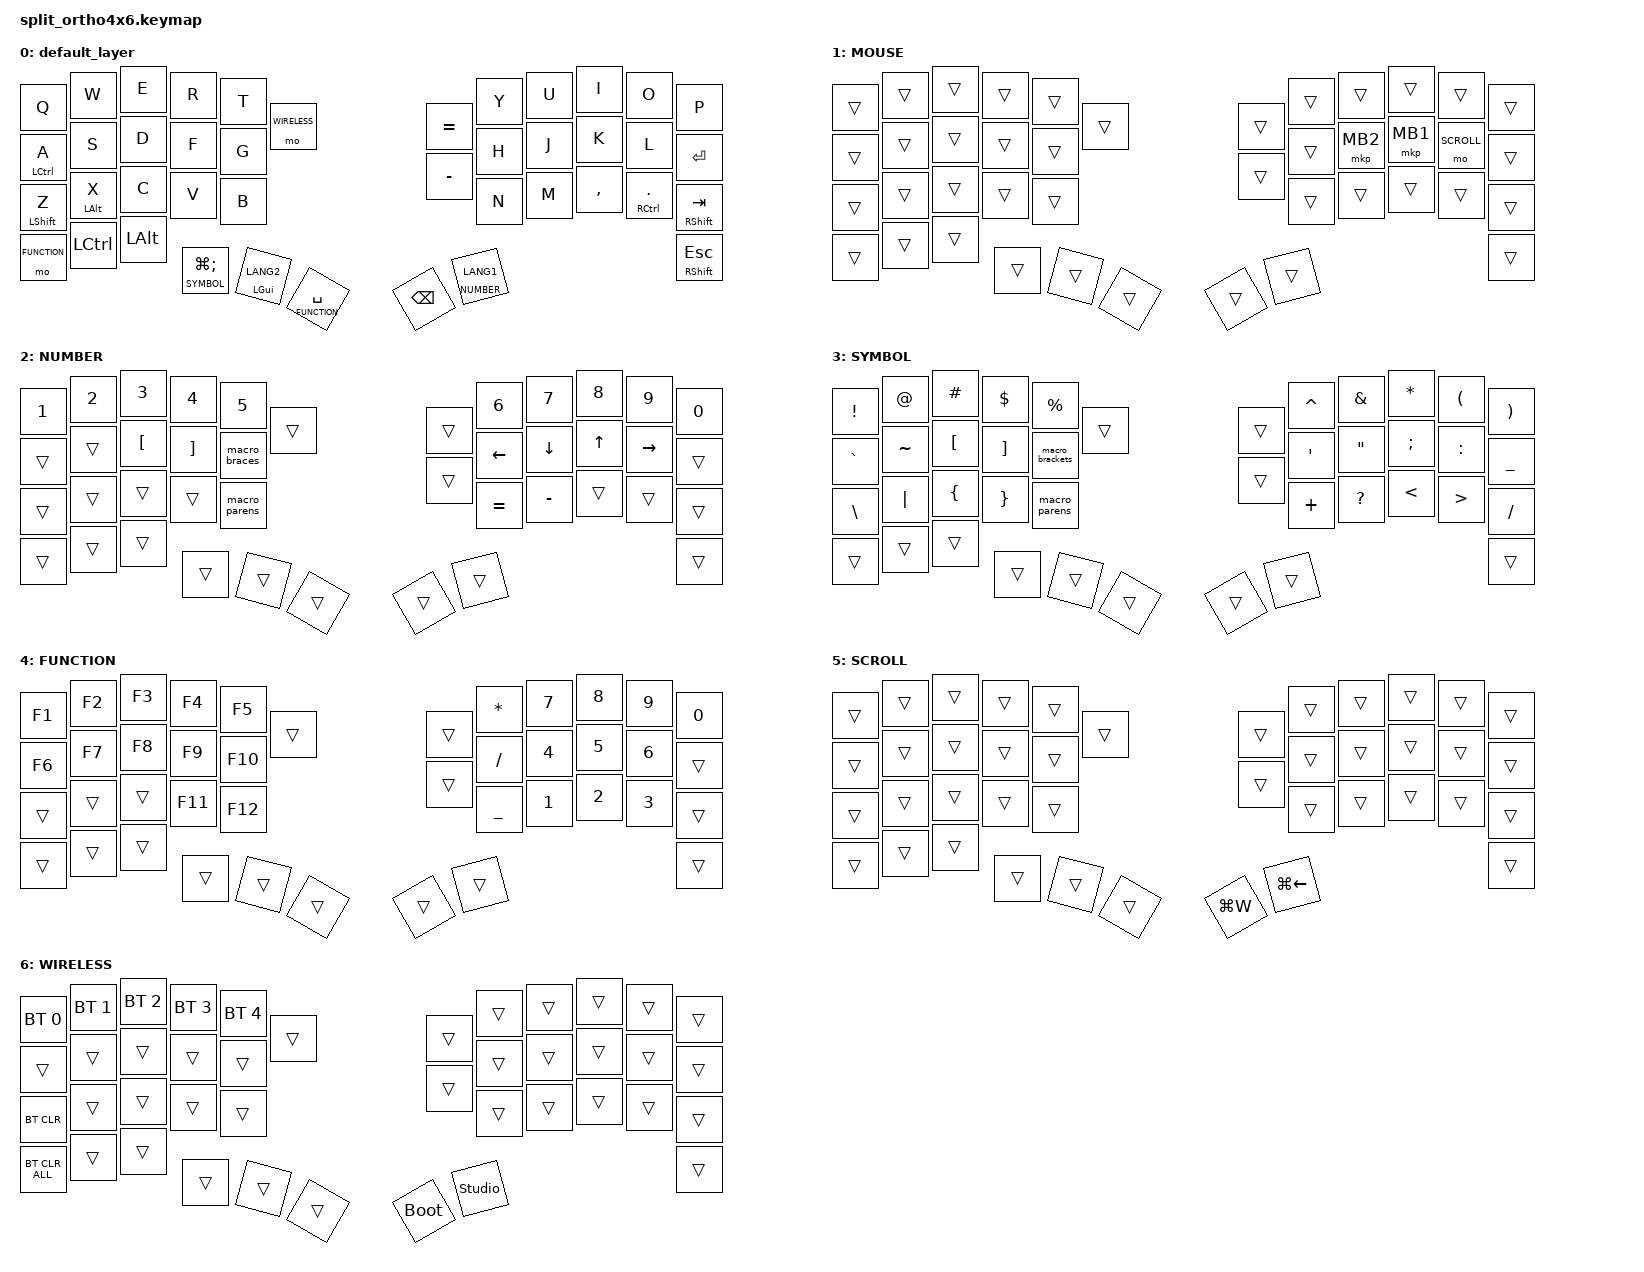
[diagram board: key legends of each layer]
#define ZMK_POINTING_DEFAULT_SCRL_VAL 150

#include <dt-bindings/zmk/input_transform.h>
#include <input/processors.dtsi>
#include <zephyr/dt-bindings/input/input-event-codes.h>
#include <behaviors.dtsi>
#include <dt-bindings/zmk/bt.h>
#include <dt-bindings/zmk/keys.h>
#include <dt-bindings/zmk/pointing.h>

// レイヤー定義

#define MOUSE 1
#define NUMBER 2
#define SYMBOL 3
#define FUNCTION 4
#define SCROLL 5
#define WIRELESS 6

// 書き込みコマンド
// git pull | ./flash_l.sh 左用
// git pull | ./flash_r.sh 右用
//mouse cursol
// &mmv {
//     delay-ms = <20>;
//     trigger-period-ms = <5>;
//     time-to-max-speed-ms = <100>;
//     acceleration-exponent = <2>;
// };
// //mouse scroll
// &msc {
//     delay-ms = <3>;
//     trigger-period-ms = <3>;
//     time-to-max-speed-ms = <100>;
//     acceleration-exponent = <30>;
// };

/ {
    input_processors {
        zip_wheel_scaler: zip_wheel_scaler {
            compatible = "zmk,input-processor-scaler";
            #input-processor-cells = <2>;
            type = <INPUT_EV_REL>;
            codes = <INPUT_REL_WHEEL>;
            track-remainders;
        };
    };
};

&msc_input_listener {
    // speed_up {
    //     layers = <FUNCTION>;
    //     // スクロールを3倍速にする
    //     input-processors = <
    //         &zip_wheel_scaler 4 1
    //     >;
    // };
    // speed_down {
    //     layers = <NUMBER>;
    //     // スクロールを?倍速にする
    //     input-processors = <
    //         &zip_wheel_scaler 1 3
    //     >;
    // };
};

/ {
    macros {
        macro_ctrl_space: macro_ctrl_space {
            compatible = "zmk,behavior-macro";
            #binding-cells = <0>;
            wait-ms = <10>;
            tap-ms = <10>;
            bindings =
                <&macro_press>,
                <&kp LCTRL>,
                <&macro_tap>,
                <&kp SPACE>,
                <&macro_release>,
                <&kp LCTRL>;
        };

        /* ()を入力してカーソルを中に戻す */

        macro_parens: macro_parens {
            compatible = "zmk,behavior-macro";
            #binding-cells = <0>;
            wait-ms = <10>;
            tap-ms = <10>;
            bindings = <&kp LPAR &kp RPAR &kp LEFT>;
        };

        /* []を入力してカーソルを中に戻す */

        macro_brackets: macro_brackets {
            compatible = "zmk,behavior-macro";
            #binding-cells = <0>;
            wait-ms = <10>;
            tap-ms = <10>;
            bindings = <&kp LBKT &kp RBKT &kp LEFT>;
        };

        /* {}を入力してカーソルを中に戻す */

        macro_braces: macro_braces {
            compatible = "zmk,behavior-macro";
            #binding-cells = <0>;
            wait-ms = <10>;
            tap-ms = <10>;
            bindings = <&kp LBRC &kp RBRC &kp LEFT>;
        };

        /* <>を入力する */

        macro_angles: macro_angles {
            compatible = "zmk,behavior-macro";
            #binding-cells = <0>;
            wait-ms = <10>;
            tap-ms = <10>;
            bindings = <&kp LT &kp GT>;
        };

        /* ''を入力する */

        macro_squotes: macro_squotes {
            compatible = "zmk,behavior-macro";
            #binding-cells = <0>;
            wait-ms = <10>;
            tap-ms = <10>;
            bindings = <&kp SQT &kp SQT>;
        };

        /* ""を入力する */

        macro_dquotes: macro_dquotes {
            compatible = "zmk,behavior-macro";
            #binding-cells = <0>;
            wait-ms = <10>;
            tap-ms = <10>;
            bindings = <&kp DQT &kp DQT>;
        };

        macro_if: if {
            compatible = "zmk,behavior-macro";
            #binding-cells = <0>;
            bindings = <&kp LPAR &kp RPAR &kp SPACE &kp LBRC &kp RBRC>;
            label = "IF";
        };
    };

    combos {
        compatible = "zmk,combos";

        /* ============================================================
           CATEGORY: MOUSE & SYSTEM (CamelCase)
           =========================================================== */
        // Bluetoothレイヤー(6)呼び出し : 最下段3キー同時押し

        BluetoothLayer {
            bindings = <&mo WIRELESS>;
            key-positions = <39 40 41>;
        };

        combo_sqt {
            bindings = <&kp SQT>;
            key-positions = <21 20>;
        };

        combo_semi {
            bindings = <&kp SEMI>;
            key-positions = <20 19>;
        };

        combo_slash {
            bindings = <&kp SLASH>;
            key-positions = <30 31>;
        };

        combo_grave {
            bindings = <&kp GRAVE>;
            key-positions = <9 10>;
        };

        combo_m_if {
            bindings = <&macro_if>;
            key-positions = <19 20 15 14>;
        };

        combo_esc {
            bindings = <&kp ESC>;
            key-positions = <19 21>;
            timeout-ms = <60>;
        };

        combo_back_slash {
            bindings = <&kp BSLH>;
            key-positions = <28 29>;
        };

        combo_at {
            bindings = <&kp AT>;
            key-positions = <7 8>;
        };

        scroll {
            bindings = <&mo SCROLL>;
            key-positions = <14 15>;
        };
    };

    behaviors {
        // 長押しでLGUI (Cmd)、単押しでCtrl+Spaceマクロ

        gui_ctrl_space: gui_ctrl_space {
            compatible = "zmk,behavior-hold-tap";
            label = "GUI_CTRL_SPACE";
            #binding-cells = <2>;
            tapping-term-ms = <200>;    // 長押しと判定されるまでの時間
            quick-tap-ms = <150>;       // 素早く2回叩いた時の挙動調整
            flavor = "hold-preferred";   // 単押し（マクロ）を優先する設定
            bindings = <&kp>, <&macro_ctrl_space>;
        };

        // Caps Lockをダブルタップで発動させる設定

        td_caps: td_caps {
            compatible = "zmk,behavior-tap-dance";
            label = "TD_CAPS";
            #binding-cells = <0>;
            tapping-term-ms = <200>;
            bindings = <&none>, <&kp CAPS>;

            // 1タップ目は何もしない（あるいは別のキー）、2タップでCaps
        };

        // カスタムHold-Tap: ホールドでLCMD、タップでLANG2、ダブルタップでCaps
        // ※gui_enをベースに、タップ部分をtd_capsと組み合わせたような挙動にします

        hm_caps: hm_caps {
            compatible = "zmk,behavior-hold-tap";
            label = "HM_CAPS";
            #binding-cells = <2>;

            // ホールド判定を少し短めにして、Commandとしての反応を速くする

            tapping-term-ms = <200>;

            // 連続入力時の判定を安定させる

            quick-tap-ms = <175>;

            // タップ判定よりもホールド（Command）を優先

            flavor = "hold-preferred";
            bindings = <&kp>, <&td_caps_lang>;
        };

        // LANG2とCAPSのタップダンス

        td_caps_lang: td_caps_lang {
            compatible = "zmk,behavior-tap-dance";
            label = "TD_CAPS_LANG";
            #binding-cells = <0>;
            tapping-term-ms = <250>;
            bindings = <&kp LANG2>, <&kp CAPS>;

            // 1タップで英数、2タップでCaps
        };

        // タップで英数、ダブルタップでかな

        td_enjp: td_enjp {
            compatible = "zmk,behavior-tap-dance";
            label = "TD_ENJP";
            #binding-cells = <0>;
            tapping-term-ms = <270>;
            bindings = <&kp LANG2>, <&kp LANG1>;
        };

        // 長押しGUI、タップで英数かな切り替え

        gui_en: gui_en {
            compatible = "zmk,behavior-hold-tap";
            label = "GUI_EN";
            #binding-cells = <2>;
            tapping-term-ms = <129>;
            flavor = "balanced";
            hold-trigger-on-release;
            bindings = <&kp>, <&td_enjp>;
        };

        // 一般的なHold-Tap (Hold: Modifier, Tap: Key)

        hm: hm {
            compatible = "zmk,behavior-hold-tap";
            label = "HM";
            #binding-cells = <2>;
            tapping-term-ms = <190>;

            // quick-tap-ms = <190>;

            flavor = "hold-preferred";
            hold-trigger-on-release;
            bindings = <&kp>, <&kp>;
        };

        // 一般的なLayer-Tap (Hold: Layer, Tap: Key)

        lt_k: lt_k {
            compatible = "zmk,behavior-hold-tap";
            label = "LT_K";
            #binding-cells = <2>;
            tapping-term-ms = <190>;
            flavor = "hold-preferred";

            // quick-tap-ms = <10>;
            hold-trigger-on-release;
            bindings = <&mo>, <&kp>;
        };

        // スペース用Hold-Tap

        // st: st {
        //     compatible = "zmk,behavior-hold-tap";
        //     label = "ST";
        //     #binding-cells = <2>;
        //     tapping-term-ms = <180>;
        //     require-prior-idle-ms = <100>;
        //     flavor = "tap-preferred";
        //     bindings = <&kp>, <&kp>;
        // };

        st: st {
            compatible = "zmk,behavior-hold-tap";
            label = "ST";
            #binding-cells = <2>;
            tapping-term-ms = <180>;
            quick-tap-ms = <150>;
            require-prior-idle-ms = <150>;
            flavor = "tap-preferred";
            hold-trigger-on-release;
            bindings = <&kp>, <&kp>;
        };

        // Ctrl併用時に単語削除(Alt+BS)化

        bs_m: bs_m {
            compatible = "zmk,behavior-mod-morph";
            label = "BS_M";
            #binding-cells = <0>;
            bindings = <&kp BSPC>, <&kp LA(BSPC)>;

            mods = <(MOD_LCTL)>;
        };

        // 右親指用：長押しLayer 1、タップBSPC（Ctrl時は単語削除）、連打長押しでLayer優先

        l1_bs: l1_bs {
            compatible = "zmk,behavior-hold-tap";
            label = "L1_BS";
            #binding-cells = <2>;
            tapping-term-ms = <160>;
            flavor = "hold-preferred";
            quick-tap-ms = <0>; // 連打時のBS長押しを禁止
            bindings = <&mo>, <&bs_m>;
        };

        stl: stl {
            compatible = "zmk,behavior-hold-tap";
            label = "STL";
            #binding-cells = <2>;
            tapping-term-ms = <195>;
            quick-tap-ms = <190>;
            require-prior-idle-ms = <110>;
            flavor = "tap-preferred";
            bindings = <&mo>, <&kp>;
        };

        stmo: stmo {
            compatible = "zmk,behavior-hold-tap";
            label = "STMO";
            #binding-cells = <2>;
            tapping-term-ms = <196>;
            quick-tap-ms = <175>;
            require-prior-idle-ms = <90>;
            flavor = "tap-preferred";
            bindings = <&mt>, <&kp>;
        };
    };

    keymap {
        compatible = "zmk,keymap";

        default_layer {
            bindings = <
&kp Q         &kp W        &kp E       &kp R             &kp T            &mo WIRELESS            &kp EQUAL  &kp Y               &kp U  &kp I      &kp O    &kp P
&st LCTRL A   &kp S        &kp D       &kp F             &kp G                                    &kp MINUS  &kp H               &kp J  &kp K      &kp L    &kp RET
&st LSHIFT Z  &st LALT X   &kp C       &kp V             &kp B                                               &kp N               &kp M  &kp COMMA  &st RCTRL DOT  &st RSHIFT TAB
&mo FUNCTION  &kp LCTRL    &kp LALT    &lt_k SYMBOL LG(SEMI)  &hm LGUI LANG2   &stl FUNCTION SPACE     &kp BSPC   &lt_k NUMBER LANG1                                 &hm RSHIFT ESC
            >;
        };

        //1 マウス操作用

        MOUSE {
            bindings = <
&trans  &trans  &trans  &trans  &trans  &trans    &trans  &trans  &trans    &trans    &trans      &trans
&trans  &trans  &trans  &trans  &trans            &trans  &trans  &mkp MB2  &mkp MB1  &mo SCROLL  &trans
&trans  &trans  &trans  &trans  &trans                    &trans  &trans    &trans    &trans      &trans
&trans  &trans  &trans  &trans  &trans  &trans    &trans  &trans                                  &trans
            >;
        };

        //2 数字・基本記号・矢印キー

        NUMBER {
            bindings = <
&kp N1  &kp N2  &kp N3    &kp N4    &kp N5         &trans    &trans  &kp N6     &kp N7     &kp N8  &kp N9     &kp N0
&trans  &trans  &kp LBKT  &kp RBKT  &macro_braces            &trans  &kp LEFT   &kp DOWN   &kp UP  &kp RIGHT  &trans
&trans  &trans  &trans    &trans    &macro_parens                    &kp EQUAL  &kp MINUS  &trans  &trans     &trans
&trans  &trans  &trans    &trans    &trans         &trans    &trans  &trans                                   &trans
            >;
        };

        //3 記号

        SYMBOL {
            bindings = <
&kp EXCL   &kp AT     &kp HASH  &kp DLLR  &kp PRCNT        &trans    &trans  &kp CARET  &kp AMPS   &kp ASTRK  &kp LPAR   &kp RPAR
&kp GRAVE  &kp TILDE  &kp LBKT  &kp RBKT  &macro_brackets            &trans  &kp SQT    &kp DQT    &kp SEMI   &kp COLON  &kp UNDER
&kp BSLH   &kp PIPE   &kp LBRC  &kp RBRC  &macro_parens                      &kp PLUS   &kp QMARK  &kp LT     &kp GT     &kp SLASH
&trans     &trans     &trans    &trans    &trans           &trans    &trans  &trans                                      &trans
            >;
        };

        //4 F1〜F12・テンキー

        FUNCTION {
            bindings = <
&kp F1  &kp F2  &kp F3  &kp F4   &kp F5   &trans    &trans  &kp ASTRK  &kp N7  &kp N8  &kp N9  &kp N0
&kp F6  &kp F7  &kp F8  &kp F9   &kp F10            &trans  &kp SLASH  &kp N4  &kp N5  &kp N6  &trans
&trans  &trans  &trans  &kp F11  &kp F12                    &kp UNDER  &kp N1  &kp N2  &kp N3  &trans
&trans  &trans  &trans  &trans   &trans   &trans    &trans  &trans                             &trans
            >;
        };

        //5 スクロール操作用

        SCROLL {
            bindings = <
&trans  &trans  &trans  &trans  &trans  &trans       &trans  &trans        &trans  &trans  &trans  &trans
&trans  &trans  &trans  &trans  &trans               &trans  &trans        &trans  &trans  &trans  &trans
&trans  &trans  &trans  &trans  &trans                       &trans        &trans  &trans  &trans  &trans
&trans  &trans  &trans  &trans  &trans  &trans    &kp LG(W)  &kp LG(LEFT)                          &trans
            >;
        };

        //6 通信・システム設定

        WIRELESS {
            bindings = <
&bt BT_SEL 0    &bt BT_SEL 1  &bt BT_SEL 2  &bt BT_SEL 3  &bt BT_SEL 4  &trans         &trans  &trans          &trans  &trans  &trans  &trans
&trans          &trans        &trans        &trans        &trans                       &trans  &trans          &trans  &trans  &trans  &trans
&bt BT_CLR      &trans        &trans        &trans        &trans                               &trans          &trans  &trans  &trans  &trans
&bt BT_CLR_ALL  &trans        &trans        &trans        &trans        &trans    &bootloader  &studio_unlock                          &trans
            >;
        };
    };
};

